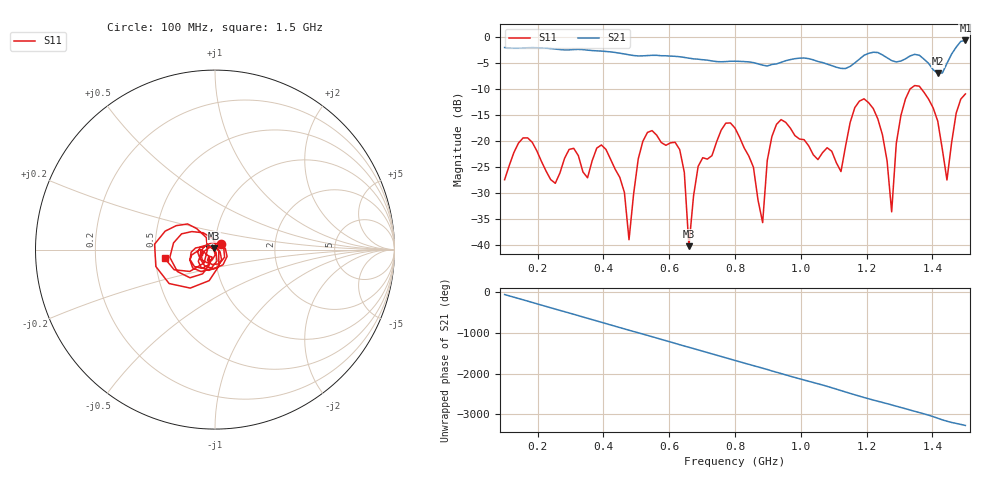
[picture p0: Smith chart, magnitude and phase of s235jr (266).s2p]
! NanoVNA-App
! Date: 2025-09-25 15:06:14
! Start: 100MHz Stop: 1,5GHz Points: 101
! S-Parameter data: F S11 S21 S12 S22
# Hz S RI R 50
!  Frequency  S11_Real  S11_Imag  S21_Real  S21_Imag  S12_Real  S12_Imag  S22_Real  S22_Imag
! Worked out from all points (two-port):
!   101 points, 100 MHz to 1.5 GHz, reference 50 ohm
!   highest |S21| = -0.60 dB at 1.5 GHz (marker M1); lowest = -6.9 dB at 1.416 GHz (marker M2)
!   |S21| within 3 dB of the highest: start of sweep to 600.1 MHz; 1.189 GHz to 1.253 GHz (63.91 MHz wide, 5.23 % of centre) (the widest 2 of 4)
!   lowest |S11| = -40.3 dB at 660 MHz (marker M3), VSWR 1.02, Z = 49.3 + j0.624 ohm
!   |S11| at or under -10 dB: start of sweep to 1.332 GHz; 1.367 GHz to end of sweep
!   S12 and S22 are empty: the file has one direction only
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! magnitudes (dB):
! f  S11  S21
! 100 MHz  -27.5  -2.0
! 156 MHz  -19.4  -2.0
! 338 MHz  -26.0  -2.4
! 408 MHz  -21.6  -2.7
! 478 MHz  -39.0  -3.4
! 520 MHz  -20.1  -3.6
! 576 MHz  -20.3  -3.5
! 632 MHz  -21.6  -3.7
! 660 MHz  -40.3  -4.0
! 688 MHz  -24.9  -4.2
! 800 MHz  -17.5  -4.6
! 884 MHz  -35.7  -5.4
! 926 MHz  -16.8  -5.1
! 1.038 GHz  -22.7  -4.3
! 1.122 GHz  -25.9  -6.0
! 1.192 GHz  -11.9  -3.5
! 1.248 GHz  -18.8  -3.4
! 1.276 GHz  -33.7  -4.5
! 1.332 GHz  -10.0  -3.6
! 1.416 GHz  -16.2  -6.9
! 1.444 GHz  -27.5  -5.0
! 1.5 GHz  -10.9  -0.6
